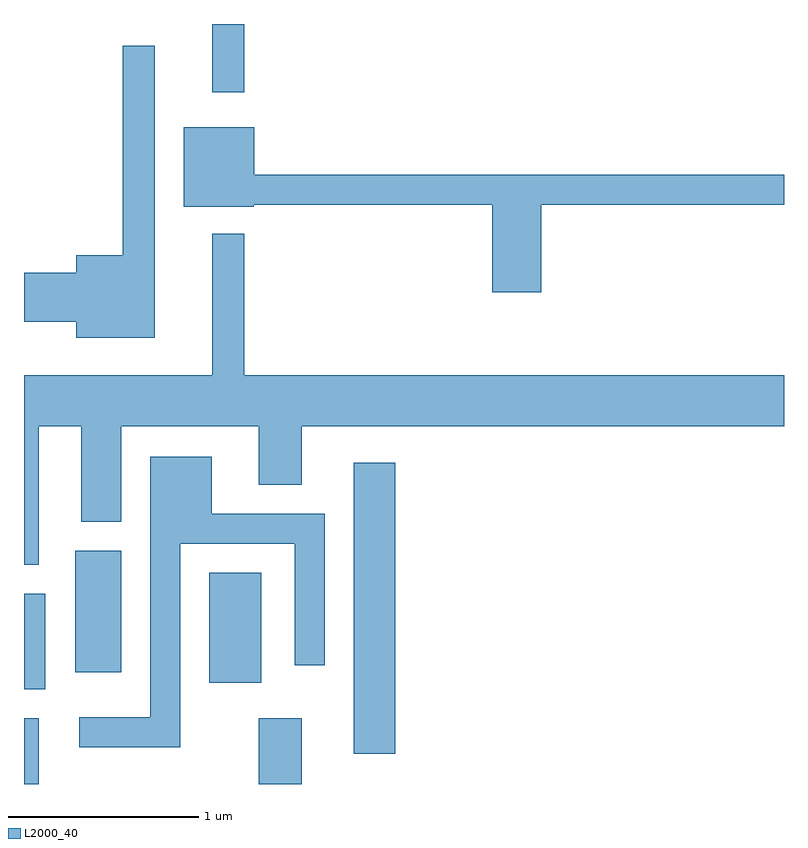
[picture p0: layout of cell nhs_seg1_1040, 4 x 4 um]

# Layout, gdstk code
import gdstk
lib = gdstk.Library(unit=1e-6, precision=1e-09)
def R(c, l, rs):  # rectangles x0, y0, x1, y1
    for r in rs: c.add(gdstk.rectangle(r[:2], r[2:], *l))
def P(c, l, *ps):  # polygons
    for p in ps: c.add(gdstk.Polygon(p, *l))
L2000_40 = (2000, 40)

nhs_seg1_1040 = lib.new_cell('nhs_seg1_1040')
R(nhs_seg1_1040, L2000_40, [(217.611,877.712,217.689,878.059), (218.846,877.712,219.074,878.059), (219.346,877.871,219.564,879.404), (217.611,878.211,217.724,878.714), (218.586,878.246,218.859,878.824), (217.881,878.301,218.124,878.939), (218.601,881.353,218.769,881.712)])
P(nhs_seg1_1040, L2000_40, [(218.299,881.598),(218.131,881.598),(218.131,880.494),(217.886,880.494),(217.886,880.404),(217.611,880.404),(217.611,880.146),(217.886,880.146),(217.886,880.061),(218.299,880.061)],
  [(220.334,880.761),(221.611,880.761),(221.611,880.919),(218.824,880.919),(218.824,881.169),(218.451,881.169),(218.451,880.751),(218.82,880.751),(218.82,880.761),(220.076,880.761),(220.076,880.301),(220.334,880.301)],
  [(217.689,879.596),(217.911,879.596),(217.911,879.091),(218.124,879.091),(218.124,879.596),(218.846,879.596),(218.846,879.286),(219.074,879.286),(219.074,879.596),(221.611,879.596),(221.611,879.864),(218.769,879.864),(218.769,880.608),(218.601,880.608),(218.601,879.864),(217.611,879.864),(217.611,878.866),(217.689,878.866)],
  [(218.434,878.976),(219.036,878.976),(219.036,878.338),(219.194,878.338),(219.194,879.134),(218.599,879.134),(218.599,879.434),(218.276,879.434),(218.276,878.064),(217.903,878.064),(217.903,877.906),(218.434,877.906)])

lib.write_gds('nhs_seg1_1040.gds')
